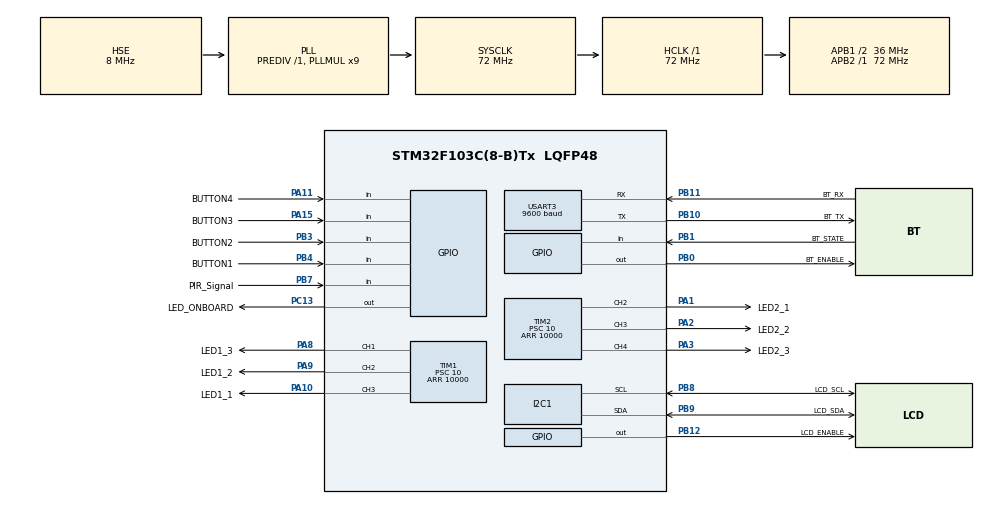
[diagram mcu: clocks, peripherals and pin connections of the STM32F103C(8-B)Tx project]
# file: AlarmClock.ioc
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Dma.MEMTOMEM.1.Direction=DMA_MEMORY_TO_MEMORY
Dma.MEMTOMEM.1.Instance=DMA1_Channel1
Dma.MEMTOMEM.1.MemDataAlignment=DMA_MDATAALIGN_BYTE
Dma.MEMTOMEM.1.MemInc=DMA_MINC_ENABLE
Dma.MEMTOMEM.1.Mode=DMA_NORMAL
Dma.MEMTOMEM.1.PeriphDataAlignment=DMA_PDATAALIGN_BYTE
Dma.MEMTOMEM.1.PeriphInc=DMA_PINC_ENABLE
Dma.MEMTOMEM.1.Priority=DMA_PRIORITY_LOW
Dma.Request0=USART3_RX
Dma.Request1=MEMTOMEM
Dma.USART3_RX.0.Direction=DMA_PERIPH_TO_MEMORY
Dma.USART3_RX.0.Instance=DMA1_Channel3
Dma.USART3_RX.0.MemDataAlignment=DMA_MDATAALIGN_BYTE
Dma.USART3_RX.0.MemInc=DMA_MINC_ENABLE
Dma.USART3_RX.0.Mode=DMA_NORMAL
Dma.USART3_RX.0.PeriphDataAlignment=DMA_PDATAALIGN_BYTE
Dma.USART3_RX.0.PeriphInc=DMA_PINC_DISABLE
Dma.USART3_RX.0.Priority=DMA_PRIORITY_LOW
I2C1.OwnAddress=0x27
Mcu.Family=STM32F1
Mcu.Name=STM32F103C(8-B)Tx
Mcu.Package=LQFP48
NVIC.DMA1_Channel1_IRQn=true\:0\:0\:false\:false\:true\:true\:true
NVIC.DMA1_Channel3_IRQn=true\:0\:0\:false\:false\:true\:false\:true
NVIC.PriorityGroup=NVIC_PRIORITYGROUP_4
NVIC.RTC_IRQn=true\:0\:0\:false\:false\:true\:true\:true
NVIC.TIM3_IRQn=true\:0\:0\:false\:false\:true\:true\:true
NVIC.USART3_IRQn=true\:0\:0\:false\:false\:true\:true\:true
PA1.GPIO_Label=LED2_1
PA1.Signal=S_TIM2_CH2
PA10.GPIO_Label=LED1_1
PA10.Signal=S_TIM1_CH3
PA11.GPIO_Label=BUTTON4
PA11.Signal=GPIO_Input
PA13.Mode=Serial_Wire
PA13.Signal=SYS_JTMS-SWDIO
PA14.Mode=Serial_Wire
PA14.Signal=SYS_JTCK-SWCLK
PA15.GPIO_Label=BUTTON3
PA15.GPIO_PuPd=GPIO_PULLDOWN
PA15.Signal=GPIO_Input
PA2.GPIO_Label=LED2_2
PA2.Signal=S_TIM2_CH3
PA3.GPIO_Label=LED2_3
PA3.Signal=S_TIM2_CH4
PA8.GPIO_Label=LED1_3
PA8.Signal=S_TIM1_CH1
PA9.GPIO_Label=LED1_2
PA9.Signal=S_TIM1_CH2
PB0.GPIO_Label=BT_ENABLE
PB0.Signal=GPIO_Output
PB1.GPIO_Label=BT_STATE
PB1.Signal=GPIO_Input
PB10.GPIO_Label=BT_TX
PB10.Mode=Asynchronous
PB10.Signal=USART3_TX
PB11.GPIO_Label=BT_RX
PB11.Mode=Asynchronous
PB11.Signal=USART3_RX
PB12.GPIO_Label=LCD_ENABLE
PB12.Signal=GPIO_Output
PB3.GPIO_Label=BUTTON2
PB3.GPIO_PuPd=GPIO_PULLDOWN
PB3.Signal=GPIO_Input
PB4.GPIO_Label=BUTTON1
PB4.GPIO_PuPd=GPIO_PULLDOWN
PB4.Signal=GPIO_Input
PB7.GPIO_Label=PIR_Signal
PB7.Signal=GPIO_Input
PB8.GPIO_Label=LCD_SCL
PB8.Mode=I2C
PB8.Signal=I2C1_SCL
PB9.GPIO_Label=LCD_SDA
PB9.Mode=I2C
PB9.Signal=I2C1_SDA
PC13-TAMPER-RTC.GPIO_Label=LED_ONBOARD
PC13-TAMPER-RTC.Signal=GPIO_Output
PD0-OSC_IN.Mode=HSE-External-Oscillator
PD0-OSC_IN.Signal=RCC_OSC_IN
PD1-OSC_OUT.Mode=HSE-External-Oscillator
PD1-OSC_OUT.Signal=RCC_OSC_OUT
ProjectManager.HeapSize=0x200
ProjectManager.StackSize=0x400
ProjectManager.TargetToolchain=STM32CubeIDE
RCC.AHBFreq_Value=72000000
RCC.APB1CLKDivider=RCC_HCLK_DIV2
RCC.APB1Freq_Value=36000000
RCC.APB1TimFreq_Value=72000000
RCC.APB2Freq_Value=72000000
RCC.APB2TimFreq_Value=72000000
RCC.HCLKFreq_Value=72000000
RCC.PLLMUL=RCC_PLL_MUL9
RCC.PLLSourceVirtual=RCC_PLLSOURCE_HSE
RCC.SYSCLKFreq_VALUE=72000000
RCC.SYSCLKSource=RCC_SYSCLKSOURCE_PLLCLK
RCC.USBFreq_Value=72000000
RTC.Date=3
RTC.Hours=10
RTC.Minutes=11
RTC.Month=RTC_MONTH_APRIL
RTC.Seconds=12
RTC.WeekDay=RTC_WEEKDAY_WEDNESDAY
SH.S_TIM1_CH1.0=TIM1_CH1,PWM Generation1 CH1
SH.S_TIM1_CH2.0=TIM1_CH2,PWM Generation2 CH2
SH.S_TIM1_CH3.0=TIM1_CH3,PWM Generation3 CH3
SH.S_TIM2_CH2.0=TIM2_CH2,PWM Generation2 CH2
SH.S_TIM2_CH3.0=TIM2_CH3,PWM Generation3 CH3
SH.S_TIM2_CH4.0=TIM2_CH4,PWM Generation4 CH4
TIM1.AutoReloadPreload=TIM_AUTORELOAD_PRELOAD_ENABLE
TIM1.Channel-PWM\ Generation1\ CH1=TIM_CHANNEL_1
TIM1.Channel-PWM\ Generation2\ CH2=TIM_CHANNEL_2
TIM1.Channel-PWM\ Generation3\ CH3=TIM_CHANNEL_3
TIM1.OCIdleState_1=TIM_OCIDLESTATE_SET
TIM1.OCIdleState_2=TIM_OCIDLESTATE_SET
TIM1.OCPolarity_1=TIM_OCPOLARITY_LOW
TIM1.OCPolarity_2=TIM_OCPOLARITY_LOW
TIM1.OCPolarity_3=TIM_OCPOLARITY_LOW
TIM1.Period=10000
TIM1.Prescaler=10
TIM1.Pulse-PWM\ Generation1\ CH1=500
TIM1.Pulse-PWM\ Generation2\ CH2=500
TIM1.Pulse-PWM\ Generation3\ CH3=500
TIM2.AutoReloadPreload=TIM_AUTORELOAD_PRELOAD_ENABLE
TIM2.Channel-PWM\ Generation2\ CH2=TIM_CHANNEL_2
TIM2.Channel-PWM\ Generation3\ CH3=TIM_CHANNEL_3
TIM2.Channel-PWM\ Generation4\ CH4=TIM_CHANNEL_4
TIM2.OCPolarity_2=TIM_OCPOLARITY_LOW
TIM2.OCPolarity_3=TIM_OCPOLARITY_LOW
TIM2.OCPolarity_4=TIM_OCPOLARITY_LOW
TIM2.Period=10000
TIM2.Prescaler=10
TIM2.Pulse-PWM\ Generation2\ CH2=200
TIM2.Pulse-PWM\ Generation3\ CH3=200
TIM2.Pulse-PWM\ Generation4\ CH4=200
TIM3.AutoReloadPreload=TIM_AUTORELOAD_PRELOAD_ENABLE
TIM3.Channel-Output\ Compare1\ No\ Output=TIM_CHANNEL_1
TIM3.Period=719
TIM3.Prescaler=1000
TIM3.Pulse-Output\ Compare1\ No\ Output=700
USART3.BaudRate=9600
USART3.VirtualMode=VM_ASYNC
VP_RTC_VS_RTC_Activate.Mode=RTC_Enabled
VP_RTC_VS_RTC_Calendar.Mode=RTC_Calendar
VP_TIM1_VS_ClockSourceINT.Mode=Internal
VP_TIM2_VS_ClockSourceINT.Mode=Internal
VP_TIM3_VS_ClockSourceINT.Mode=Internal
VP_TIM3_VS_no_output1.Mode=Output Compare1 No Output
board=custom

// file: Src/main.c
/* USER CODE BEGIN Header */
/**
  ******************************************************************************
  * @file           : main.c
  * @brief          : Main program body
  ******************************************************************************
  * @attention
  *
  * <h2><center>&copy; Copyright (c) 2019 STMicroelectronics.
  * All rights reserved.</center></h2>
  *
  * This software component is licensed by ST under BSD 3-Clause license,
  * the "License"; You may not use this file except in compliance with the
  * License. You may obtain a copy of the License at:
  *                        opensource.org/licenses/BSD-3-Clause
  *
  ******************************************************************************
  */
/* USER CODE END Header */

#include "main.h"

/* USER CODE BEGIN Includes */

#include "LCD.h"
#include "Bluetooth.h"
#include "Time.h"
#include "Button.h"
#include "UI.h"
#include "Light.h"

/* USER CODE END Includes */

I2C_HandleTypeDef hi2c1;

RTC_HandleTypeDef hrtc;

TIM_HandleTypeDef htim1;
TIM_HandleTypeDef htim2;
TIM_HandleTypeDef htim3;

UART_HandleTypeDef huart3;
DMA_HandleTypeDef hdma_usart3_rx;

DMA_HandleTypeDef hdma_memtomem_dma1_channel1;

void SystemClock_Config(void);
static void MX_GPIO_Init(void);
static void MX_DMA_Init(void);
static void MX_I2C1_Init(void);
static void MX_USART3_UART_Init(void);
static void MX_TIM1_Init(void);
static void MX_TIM2_Init(void);
static void MX_RTC_Init(void);
static void MX_TIM3_Init(void);

/* USER CODE BEGIN 0 */

//-------------------------------------------------------------------------------------------------------------------------------//
//RunAlarmClock------------------------------------------------------------------------------------------------------------------//
//-------------------------------------------------------------------------------------------------------------------------------//

void runAlarmClock(void ){
	// HAL already auto initialized:
	// > Buttons
	// > Bluetooth (USART3)
	// > PIR GPIO
	// > Audio on TIMER4
	// > Power LEDs on TIM1 and TIM2 all 1-3 Channels
	// > RTC

	/// ! ! ! ! ! ! !
	// BUTTON4 is on PA12 but solution must be found because seems not to work

	// START OF ALARM CLOCK INIT

	// Light
	initLight(&htim1,&htim2); //Make sure this is initialized first so lights are turned off immediately
	setLEDColor(0, 0, 0); //lights off man

	//Bluetooth
	initBluetooth(&huart3);
	printBT("Alarm Clock by Dominic J\n");

	// LCD
	printBT("> LCD init... ");
	initLCD(&hi2c1, &htim3);
	doBacklightOn();
	//printLCD(0,0,"Alarm Clock 2.0");
	//printLCD(1,1, "Dominic Jossen");
	HAL_Delay(250);
	//setUI(START);
	printBT("ok!\n");

	// RTC
	printBT("> RTC init...");
	initRTC(&hrtc);
	printBT("ok!\n");

	// AUDIO
	printBT("> AUDIO init...");
	initAudio();
	printBT("ok!\n");

	// DMA Init
	printBT("> DMA UART init...");
	startBluetoothListener();
	printBT("ok!\n");
	// ONBOARD LED
	CLEAR_REG(BKP->RTCCR); //Release Onboard LED GPIO from RTC Softlock
	HAL_GPIO_WritePin(LED_ONBOARD_GPIO_Port, LED_ONBOARD_Pin, GPIO_PIN_SET);
	// END OF INIT
	printBT("Go go go!\n\n");

	setTime(22,38, 57);
	//setAlarm(22, 49, 0, 10); //Dont set alarm on final release!!

/*	while(1){
		HAL_Delay(1000);
		printBT("R\n");
		setLEDColor(500, 0, 0);
		HAL_Delay(1000);
		printBT("G\n");
		setLEDColor(0, 500, 0);
		HAL_Delay(1000);
		printBT("B\n");
		setLEDColor(0, 0, 500);
	}*/

	while(1){

		handleRTCTimeStep();
		handleBluetoothCmd();
		handleSunrise();
		handleButtonUpdate();
		handleUIUpdate();

		setLEDColor(500, 500, 500);

//-------------------------------------------------------------------------------------------------------------------------------//
// ~~RunAlarmClock---------------------------------------------------------------------------------------------------------------//
//-------------------------------------------------------------------------------------------------------------------------------//

	}
}

/* USER CODE END 0 */

int main(void)
{

  /* MCU Configuration--------------------------------------------------------*/

  /* Reset of all peripherals, Initializes the Flash interface and the Systick. */
  HAL_Init();

  /* Configure the system clock */
  SystemClock_Config();

  /* Initialize all configured peripherals */
  MX_GPIO_Init();
  MX_DMA_Init();
  MX_I2C1_Init();
  MX_USART3_UART_Init();
  MX_TIM1_Init();
  MX_TIM2_Init();
  MX_RTC_Init();
  MX_TIM3_Init();
  /* USER CODE BEGIN 2 */

  //-------------------------------------------------------------------------------------------------------------------------------//
  //Init---------------------------------------------------------------------------------------------------------------------------//
  //-------------------------------------------------------------------------------------------------------------------------------//

  runAlarmClock();

  //-------------------------------------------------------------------------------------------------------------------------------//
  //End Init-----------------------------------------------------------------------------------------------------------------------//
  //-------------------------------------------------------------------------------------------------------------------------------//
  /* USER CODE END 2 */

  /* Infinite loop */
  while (1)
  {

  }
}

void SystemClock_Config(void)
{
  RCC_OscInitTypeDef RCC_OscInitStruct = {0};
  RCC_ClkInitTypeDef RCC_ClkInitStruct = {0};
  RCC_PeriphCLKInitTypeDef PeriphClkInit = {0};

  /** Initializes the CPU, AHB and APB busses clocks
  */
  RCC_OscInitStruct.OscillatorType = RCC_OSCILLATORTYPE_LSI|RCC_OSCILLATORTYPE_HSE;
  RCC_OscInitStruct.HSEState = RCC_HSE_ON;
  RCC_OscInitStruct.HSEPredivValue = RCC_HSE_PREDIV_DIV1;
  RCC_OscInitStruct.HSIState = RCC_HSI_ON;
  RCC_OscInitStruct.LSIState = RCC_LSI_ON;
  RCC_OscInitStruct.PLL.PLLState = RCC_PLL_ON;
  RCC_OscInitStruct.PLL.PLLSource = RCC_PLLSOURCE_HSE;
  RCC_OscInitStruct.PLL.PLLMUL = RCC_PLL_MUL9;
  if (HAL_RCC_OscConfig(&RCC_OscInitStruct) != HAL_OK)
  {
    Error_Handler();
  }
  /** Initializes the CPU, AHB and APB busses clocks
  */
  RCC_ClkInitStruct.ClockType = RCC_CLOCKTYPE_HCLK|RCC_CLOCKTYPE_SYSCLK
                              |RCC_CLOCKTYPE_PCLK1|RCC_CLOCKTYPE_PCLK2;
  RCC_ClkInitStruct.SYSCLKSource = RCC_SYSCLKSOURCE_PLLCLK;
  RCC_ClkInitStruct.AHBCLKDivider = RCC_SYSCLK_DIV1;
  RCC_ClkInitStruct.APB1CLKDivider = RCC_HCLK_DIV2;
  RCC_ClkInitStruct.APB2CLKDivider = RCC_HCLK_DIV1;

  if (HAL_RCC_ClockConfig(&RCC_ClkInitStruct, FLASH_LATENCY_2) != HAL_OK)
  {
    Error_Handler();
  }
  PeriphClkInit.PeriphClockSelection = RCC_PERIPHCLK_RTC;
  PeriphClkInit.RTCClockSelection = RCC_RTCCLKSOURCE_LSI;
  if (HAL_RCCEx_PeriphCLKConfig(&PeriphClkInit) != HAL_OK)
  {
    Error_Handler();
  }
}

static void MX_I2C1_Init(void)
{

  hi2c1.Instance = I2C1;
  hi2c1.Init.ClockSpeed = 100000;
  hi2c1.Init.DutyCycle = I2C_DUTYCYCLE_2;
  hi2c1.Init.OwnAddress1 = 78;
  hi2c1.Init.AddressingMode = I2C_ADDRESSINGMODE_7BIT;
  hi2c1.Init.DualAddressMode = I2C_DUALADDRESS_DISABLE;
  hi2c1.Init.OwnAddress2 = 0;
  hi2c1.Init.GeneralCallMode = I2C_GENERALCALL_DISABLE;
  hi2c1.Init.NoStretchMode = I2C_NOSTRETCH_DISABLE;
  if (HAL_I2C_Init(&hi2c1) != HAL_OK)
  {
    Error_Handler();
  }

}

static void MX_RTC_Init(void)
{

  RTC_TimeTypeDef sTime = {0};
  RTC_DateTypeDef DateToUpdate = {0};

  /** Initialize RTC Only
  */
  hrtc.Instance = RTC;
  hrtc.Init.AsynchPrediv = RTC_AUTO_1_SECOND;
  hrtc.Init.OutPut = RTC_OUTPUTSOURCE_ALARM;
  if (HAL_RTC_Init(&hrtc) != HAL_OK)
  {
    Error_Handler();
  }

  /** Initialize RTC and set the Time and Date
  */
  sTime.Hours = 0x10;
  sTime.Minutes = 0x11;
  sTime.Seconds = 0x12;

  if (HAL_RTC_SetTime(&hrtc, &sTime, RTC_FORMAT_BCD) != HAL_OK)
  {
    Error_Handler();
  }
  DateToUpdate.WeekDay = RTC_WEEKDAY_WEDNESDAY;
  DateToUpdate.Month = RTC_MONTH_APRIL;
  DateToUpdate.Date = 0x3;
  DateToUpdate.Year = 0x0;

  if (HAL_RTC_SetDate(&hrtc, &DateToUpdate, RTC_FORMAT_BCD) != HAL_OK)
  {
    Error_Handler();
  }

}

static void MX_TIM1_Init(void)
{

  TIM_ClockConfigTypeDef sClockSourceConfig = {0};
  TIM_MasterConfigTypeDef sMasterConfig = {0};
  TIM_OC_InitTypeDef sConfigOC = {0};
  TIM_BreakDeadTimeConfigTypeDef sBreakDeadTimeConfig = {0};

  htim1.Instance = TIM1;
  htim1.Init.Prescaler = 10;
  htim1.Init.CounterMode = TIM_COUNTERMODE_UP;
  htim1.Init.Period = 10000;
  htim1.Init.ClockDivision = TIM_CLOCKDIVISION_DIV1;
  htim1.Init.RepetitionCounter = 0;
  htim1.Init.AutoReloadPreload = TIM_AUTORELOAD_PRELOAD_ENABLE;
  if (HAL_TIM_Base_Init(&htim1) != HAL_OK)
  {
    Error_Handler();
  }
  sClockSourceConfig.ClockSource = TIM_CLOCKSOURCE_INTERNAL;
  if (HAL_TIM_ConfigClockSource(&htim1, &sClockSourceConfig) != HAL_OK)
  {
    Error_Handler();
  }
  if (HAL_TIM_PWM_Init(&htim1) != HAL_OK)
  {
    Error_Handler();
  }
  sMasterConfig.MasterOutputTrigger = TIM_TRGO_RESET;
  sMasterConfig.MasterSlaveMode = TIM_MASTERSLAVEMODE_DISABLE;
  if (HAL_TIMEx_MasterConfigSynchronization(&htim1, &sMasterConfig) != HAL_OK)
  {
    Error_Handler();
  }
  sConfigOC.OCMode = TIM_OCMODE_PWM1;
  sConfigOC.Pulse = 500;
  sConfigOC.OCPolarity = TIM_OCPOLARITY_LOW;
  sConfigOC.OCNPolarity = TIM_OCNPOLARITY_HIGH;
  sConfigOC.OCFastMode = TIM_OCFAST_DISABLE;
  sConfigOC.OCIdleState = TIM_OCIDLESTATE_SET;
  sConfigOC.OCNIdleState = TIM_OCNIDLESTATE_RESET;
  if (HAL_TIM_PWM_ConfigChannel(&htim1, &sConfigOC, TIM_CHANNEL_1) != HAL_OK)
  {
    Error_Handler();
  }
  if (HAL_TIM_PWM_ConfigChannel(&htim1, &sConfigOC, TIM_CHANNEL_2) != HAL_OK)
  {
    Error_Handler();
  }
  sConfigOC.OCIdleState = TIM_OCIDLESTATE_RESET;
  if (HAL_TIM_PWM_ConfigChannel(&htim1, &sConfigOC, TIM_CHANNEL_3) != HAL_OK)
  {
    Error_Handler();
  }
  sBreakDeadTimeConfig.OffStateRunMode = TIM_OSSR_DISABLE;
  sBreakDeadTimeConfig.OffStateIDLEMode = TIM_OSSI_DISABLE;
  sBreakDeadTimeConfig.LockLevel = TIM_LOCKLEVEL_OFF;
  sBreakDeadTimeConfig.DeadTime = 0;
  sBreakDeadTimeConfig.BreakState = TIM_BREAK_DISABLE;
  sBreakDeadTimeConfig.BreakPolarity = TIM_BREAKPOLARITY_HIGH;
  sBreakDeadTimeConfig.AutomaticOutput = TIM_AUTOMATICOUTPUT_DISABLE;
  if (HAL_TIMEx_ConfigBreakDeadTime(&htim1, &sBreakDeadTimeConfig) != HAL_OK)
  {
    Error_Handler();
  }
  HAL_TIM_MspPostInit(&htim1);

}

static void MX_TIM2_Init(void)
{

  TIM_ClockConfigTypeDef sClockSourceConfig = {0};
  TIM_MasterConfigTypeDef sMasterConfig = {0};
  TIM_OC_InitTypeDef sConfigOC = {0};

  htim2.Instance = TIM2;
  htim2.Init.Prescaler = 10;
  htim2.Init.CounterMode = TIM_COUNTERMODE_UP;
  htim2.Init.Period = 10000;
  htim2.Init.ClockDivision = TIM_CLOCKDIVISION_DIV1;
  htim2.Init.AutoReloadPreload = TIM_AUTORELOAD_PRELOAD_ENABLE;
  if (HAL_TIM_Base_Init(&htim2) != HAL_OK)
  {
    Error_Handler();
  }
  sClockSourceConfig.ClockSource = TIM_CLOCKSOURCE_INTERNAL;
  if (HAL_TIM_ConfigClockSource(&htim2, &sClockSourceConfig) != HAL_OK)
  {
    Error_Handler();
  }
  if (HAL_TIM_PWM_Init(&htim2) != HAL_OK)
  {
    Error_Handler();
  }
  sMasterConfig.MasterOutputTrigger = TIM_TRGO_RESET;
  sMasterConfig.MasterSlaveMode = TIM_MASTERSLAVEMODE_DISABLE;
  if (HAL_TIMEx_MasterConfigSynchronization(&htim2, &sMasterConfig) != HAL_OK)
  {
    Error_Handler();
  }
  sConfigOC.OCMode = TIM_OCMODE_PWM1;
  sConfigOC.Pulse = 200;
  sConfigOC.OCPolarity = TIM_OCPOLARITY_LOW;
  sConfigOC.OCFastMode = TIM_OCFAST_DISABLE;
  if (HAL_TIM_PWM_ConfigChannel(&htim2, &sConfigOC, TIM_CHANNEL_2) != HAL_OK)
  {
    Error_Handler();
  }
  if (HAL_TIM_PWM_ConfigChannel(&htim2, &sConfigOC, TIM_CHANNEL_3) != HAL_OK)
  {
    Error_Handler();
  }
  if (HAL_TIM_PWM_ConfigChannel(&htim2, &sConfigOC, TIM_CHANNEL_4) != HAL_OK)
  {
    Error_Handler();
  }
  HAL_TIM_MspPostInit(&htim2);

}

static void MX_TIM3_Init(void)
{

  TIM_ClockConfigTypeDef sClockSourceConfig = {0};
  TIM_MasterConfigTypeDef sMasterConfig = {0};
  TIM_OC_InitTypeDef sConfigOC = {0};

  htim3.Instance = TIM3;
  htim3.Init.Prescaler = 1000;
  htim3.Init.CounterMode = TIM_COUNTERMODE_UP;
  htim3.Init.Period = 719;
  htim3.Init.ClockDivision = TIM_CLOCKDIVISION_DIV1;
  htim3.Init.AutoReloadPreload = TIM_AUTORELOAD_PRELOAD_ENABLE;
  if (HAL_TIM_Base_Init(&htim3) != HAL_OK)
  {
    Error_Handler();
  }
  sClockSourceConfig.ClockSource = TIM_CLOCKSOURCE_INTERNAL;
  if (HAL_TIM_ConfigClockSource(&htim3, &sClockSourceConfig) != HAL_OK)
  {
    Error_Handler();
  }
  if (HAL_TIM_OC_Init(&htim3) != HAL_OK)
  {
    Error_Handler();
  }
  sMasterConfig.MasterOutputTrigger = TIM_TRGO_RESET;
  sMasterConfig.MasterSlaveMode = TIM_MASTERSLAVEMODE_DISABLE;
  if (HAL_TIMEx_MasterConfigSynchronization(&htim3, &sMasterConfig) != HAL_OK)
  {
    Error_Handler();
  }
  sConfigOC.OCMode = TIM_OCMODE_TIMING;
  sConfigOC.Pulse = 700;
  sConfigOC.OCPolarity = TIM_OCPOLARITY_HIGH;
  sConfigOC.OCFastMode = TIM_OCFAST_DISABLE;
  if (HAL_TIM_OC_ConfigChannel(&htim3, &sConfigOC, TIM_CHANNEL_1) != HAL_OK)
  {
    Error_Handler();
  }

}

static void MX_USART3_UART_Init(void)
{

  huart3.Instance = USART3;
  huart3.Init.BaudRate = 9600;
  huart3.Init.WordLength = UART_WORDLENGTH_8B;
  huart3.Init.StopBits = UART_STOPBITS_1;
  huart3.Init.Parity = UART_PARITY_NONE;
  huart3.Init.Mode = UART_MODE_TX_RX;
  huart3.Init.HwFlowCtl = UART_HWCONTROL_NONE;
  huart3.Init.OverSampling = UART_OVERSAMPLING_16;
  if (HAL_UART_Init(&huart3) != HAL_OK)
  {
    Error_Handler();
  }

}

static void MX_DMA_Init(void)
{
  /* DMA controller clock enable */
  __HAL_RCC_DMA1_CLK_ENABLE();

  /* Configure DMA request hdma_memtomem_dma1_channel1 on DMA1_Channel1 */
  hdma_memtomem_dma1_channel1.Instance = DMA1_Channel1;
  hdma_memtomem_dma1_channel1.Init.Direction = DMA_MEMORY_TO_MEMORY;
  hdma_memtomem_dma1_channel1.Init.PeriphInc = DMA_PINC_ENABLE;
  hdma_memtomem_dma1_channel1.Init.MemInc = DMA_MINC_ENABLE;
  hdma_memtomem_dma1_channel1.Init.PeriphDataAlignment = DMA_PDATAALIGN_BYTE;
  hdma_memtomem_dma1_channel1.Init.MemDataAlignment = DMA_MDATAALIGN_BYTE;
  hdma_memtomem_dma1_channel1.Init.Mode = DMA_NORMAL;
  hdma_memtomem_dma1_channel1.Init.Priority = DMA_PRIORITY_LOW;
  if (HAL_DMA_Init(&hdma_memtomem_dma1_channel1) != HAL_OK)
  {
    Error_Handler( );
  }

  /* DMA interrupt init */
  /* DMA1_Channel1_IRQn interrupt configuration */
  HAL_NVIC_SetPriority(DMA1_Channel1_IRQn, 0, 0);
  HAL_NVIC_EnableIRQ(DMA1_Channel1_IRQn);
  /* DMA1_Channel3_IRQn interrupt configuration */
  HAL_NVIC_SetPriority(DMA1_Channel3_IRQn, 0, 0);
  HAL_NVIC_EnableIRQ(DMA1_Channel3_IRQn);

}

static void MX_GPIO_Init(void)
{
  GPIO_InitTypeDef GPIO_InitStruct = {0};

  /* GPIO Ports Clock Enable */
  __HAL_RCC_GPIOC_CLK_ENABLE();
  __HAL_RCC_GPIOD_CLK_ENABLE();
  __HAL_RCC_GPIOA_CLK_ENABLE();
  __HAL_RCC_GPIOB_CLK_ENABLE();

  /*Configure GPIO pin Output Level */
  HAL_GPIO_WritePin(LED_ONBOARD_GPIO_Port, LED_ONBOARD_Pin, GPIO_PIN_RESET);

  /*Configure GPIO pin Output Level */
  HAL_GPIO_WritePin(GPIOB, BT_ENABLE_Pin|LCD_ENABLE_Pin, GPIO_PIN_RESET);

  /*Configure GPIO pin : LED_ONBOARD_Pin */
  GPIO_InitStruct.Pin = LED_ONBOARD_Pin;
  GPIO_InitStruct.Mode = GPIO_MODE_OUTPUT_PP;
  GPIO_InitStruct.Pull = GPIO_NOPULL;
  GPIO_InitStruct.Speed = GPIO_SPEED_FREQ_LOW;
  HAL_GPIO_Init(LED_ONBOARD_GPIO_Port, &GPIO_InitStruct);

  /*Configure GPIO pins : BT_ENABLE_Pin LCD_ENABLE_Pin */
  GPIO_InitStruct.Pin = BT_ENABLE_Pin|LCD_ENABLE_Pin;
  GPIO_InitStruct.Mode = GPIO_MODE_OUTPUT_PP;
  GPIO_InitStruct.Pull = GPIO_NOPULL;
  GPIO_InitStruct.Speed = GPIO_SPEED_FREQ_LOW;
  HAL_GPIO_Init(GPIOB, &GPIO_InitStruct);

  /*Configure GPIO pins : BT_STATE_Pin PIR_Signal_Pin */
  GPIO_InitStruct.Pin = BT_STATE_Pin|PIR_Signal_Pin;
  GPIO_InitStruct.Mode = GPIO_MODE_INPUT;
  GPIO_InitStruct.Pull = GPIO_NOPULL;
  HAL_GPIO_Init(GPIOB, &GPIO_InitStruct);

  /*Configure GPIO pin : BUTTON4_Pin */
  GPIO_InitStruct.Pin = BUTTON4_Pin;
  GPIO_InitStruct.Mode = GPIO_MODE_INPUT;
  GPIO_InitStruct.Pull = GPIO_NOPULL;
  HAL_GPIO_Init(BUTTON4_GPIO_Port, &GPIO_InitStruct);

  /*Configure GPIO pin : BUTTON3_Pin */
  GPIO_InitStruct.Pin = BUTTON3_Pin;
  GPIO_InitStruct.Mode = GPIO_MODE_INPUT;
  GPIO_InitStruct.Pull = GPIO_PULLDOWN;
  HAL_GPIO_Init(BUTTON3_GPIO_Port, &GPIO_InitStruct);

  /*Configure GPIO pins : BUTTON2_Pin BUTTON1_Pin */
  GPIO_InitStruct.Pin = BUTTON2_Pin|BUTTON1_Pin;
  GPIO_InitStruct.Mode = GPIO_MODE_INPUT;
  GPIO_InitStruct.Pull = GPIO_PULLDOWN;
  HAL_GPIO_Init(GPIOB, &GPIO_InitStruct);

}

void Error_Handler(void)
{
}

/************************ (C) COPYRIGHT STMicroelectronics *****END OF FILE****/
